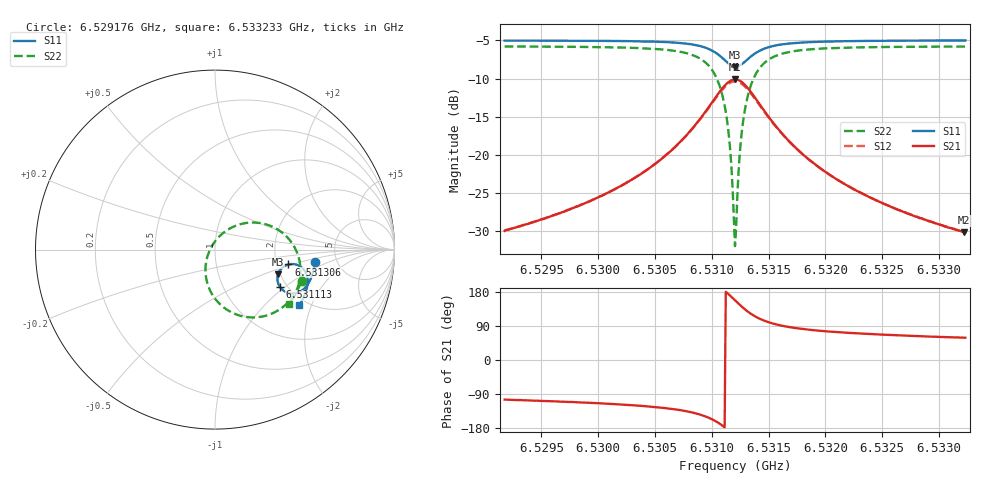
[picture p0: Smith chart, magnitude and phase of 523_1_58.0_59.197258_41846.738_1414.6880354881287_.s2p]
#  HZ  S  RI  R  50.00
! Rohde & Schwarz Vector Network Analyzer
! Rohde-Schwarz,ZNB20-2Port,1311601062101988,3.16
! Created: UTC 3/21/2024, 1:13:46 AM
! freq[Hz]  re:S11  im:S11  re:S21  im:S21  re:S12  im:S12  re:S22  im:S22
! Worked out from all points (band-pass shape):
!   401 points, 6.529176 GHz to 6.533233 GHz, reference 50 ohm
!   highest |S21| = -10.12 dB at 6.531205 GHz (marker M1); lowest = -30.2 dB at 6.533223 GHz (marker M2)
!   |S21| within 3 dB of the highest: 6.531003 GHz to 6.531409 GHz (405.7 kHz wide, 0.00621 % of centre)
!   lowest |S11| = -8.5 dB at 6.531205 GHz (marker M3), VSWR 2.21, Z = 97.5 - j31.3 ohm
!   |S11| at or under -10 dB: nowhere
!   |S22| runs from -32.1 to -5.8 dB; largest |S21 - S12| = 0.012
!   S11 on the Smith chart (normalised r, x): 6.529176 GHz: 3.39, -0.71; 6.531113 GHz: 1.83, -0.93; 6.531306 GHz: 2.32, -0.47; 6.533233 GHz: 1.82, -1.64
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6.5291764e9  0.5562 -0.0718  -0.00788 -0.0304  -0.00859 -0.0304  0.4824 -0.1761
6.5298558e9  0.5449 -0.1283  -0.0177 -0.0435  -0.0187 -0.0431  0.4506 -0.2389
6.5305353e9  0.5152 -0.196  -0.0523 -0.0741  -0.0542 -0.0728  0.3679 -0.328
6.5307685e9  0.4874 -0.2254  -0.0926 -0.0934  -0.0954 -0.0902  0.2863 -0.3676
6.5309409e9  0.4428 -0.2438  -0.1618 -0.0992  -0.164 -0.0926  0.1589 -0.3727
6.5310423e9  0.3975 -0.2375  -0.232 -0.0716  -0.2309 -0.062  0.0406 -0.3156
6.5311133e9  0.3626 -0.2089  -0.2833 -0.0117  -0.2773 -0.00172  -0.0366 -0.2064
6.5311538e9  0.3497 -0.1803  -0.299 0.0421  -0.2898 0.0502  -0.0533 -0.1146
6.5311944e9  0.3492 -0.1461  -0.2936 0.1036  -0.2824 0.1079  -0.0343 -0.015
6.5312045e9  0.3513 -0.1375  -0.2883 0.1186  -0.2772 0.122  -0.0233 0.00888
6.5312147e9  0.3545 -0.1293  -0.2817 0.1331  -0.2704 0.1355  -0.01 0.0316
6.5312248e9  0.3584 -0.1215  -0.2737 0.1468  -0.2626 0.1481  0.00536 0.0525
6.5312451e9  0.3685 -0.1074  -0.2541 0.1711  -0.2437 0.1706  0.0412 0.0892
6.5312654e9  0.3808 -0.0963  -0.231 0.1906  -0.2216 0.1886  0.0821 0.1173
6.531306e9  0.4085 -0.083  -0.1809 0.2136  -0.1742 0.21  0.168 0.1473
6.5313769e9  0.4524 -0.0836  -0.1041 0.2147  -0.1008 0.2114  0.297 0.1365
6.5314784e9  0.4905 -0.1065  -0.0385 0.1823  -0.037 0.1805  0.4037 0.0677
6.5316305e9  0.5119 -0.1437  0.000633 0.1344  0.00185 0.1337  0.4619 -0.0291
6.531884e9  0.5163 -0.1874  0.017 0.0877  0.0181 0.0873  0.4762 -0.1276
6.5325634e9  0.4972 -0.2581  0.0185 0.0419  0.0193 0.0416  0.4475 -0.2442
6.5332226e9  0.4711 -0.3074  0.016 0.0263  0.0166 0.0262  0.4139 -0.3033
6.5332327e9  0.4706 -0.3081  0.016 0.0264  0.0165 0.026  0.4132 -0.3041
